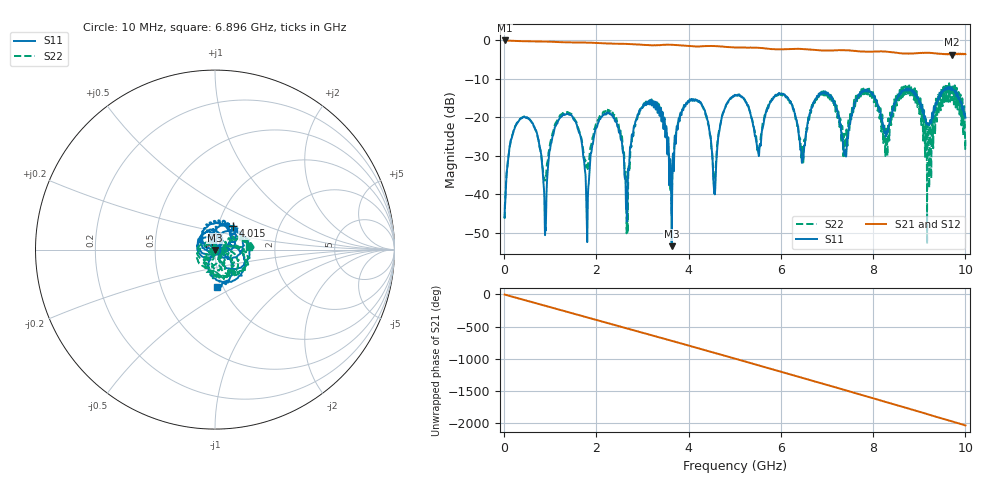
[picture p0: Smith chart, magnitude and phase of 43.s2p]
!Keysight Technologies,E5080B,MY59205177,A.15.75.32
!Date: Friday, February 23, 2024 03:29:38
!Correction: S11(Cdelta 2-Port  )
!S21(Cdelta 2-Port  )
!S12(Cdelta 2-Port  )
!S22(Cdelta 2-Port  )
!S2P File: Measurements: S11, S21, S12, S22:
# Hz S  dB  R 50
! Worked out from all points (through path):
!   10001 points, 10 MHz to 10 GHz, reference 50 ohm
!   highest |S21| = -0.02 dB at 10 MHz (marker M1); lowest = -3.7 dB at 9.701 GHz (marker M2)
!   group delay of S21, straight-line fit = 565 ps
!   lowest |S11| = -53.5 dB at 3.632 GHz (marker M3), VSWR 1.00, Z = 50 - j0.208 ohm
!   |S11| at or under -10 dB: start of sweep to end of sweep
!   |S22| runs from -52.9 to -11.1 dB; largest |S21 - S12| = 0.0015
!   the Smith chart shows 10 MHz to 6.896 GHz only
!   S11 on the Smith chart (normalised r, x): 10 MHz: 1.01, -0.00; 4.015 GHz: 1.18, +0.32; 6.896 GHz: 0.93, -0.41
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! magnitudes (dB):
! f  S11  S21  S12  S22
! 10 MHz  -46.0  0.0  0.0  -46.0
! 373.6 MHz  -20.2  -0.2  -0.2  -20.1
! 888.1 MHz  -50.2  -0.3  -0.3  -36.2
! 1.182 GHz  -20.7  -0.4  -0.4  -20.1
! 1.675 GHz  -26.1  -0.5  -0.5  -25.4
! 1.805 GHz  -49.6  -0.6  -0.6  -33.0
! 2.35 GHz  -19.4  -0.8  -0.8  -18.8
! 2.664 GHz  -47.0  -0.9  -0.9  -42.7
! 2.906 GHz  -19.3  -1.1  -1.1  -18.9
! 3.341 GHz  -17.5  -1.2  -1.2  -17.8
! 3.632 GHz  -53.5  -1.1  -1.1  -44.9
! 4.015 GHz  -15.6  -1.5  -1.5  -15.6
! 4.561 GHz  -39.8  -1.5  -1.5  -38.8
! 5.005 GHz  -14.2  -1.8  -1.8  -14.5
! 5.517 GHz  -29.8  -1.9  -1.9  -28.8
! 6.67 GHz  -17.3  -2.4  -2.4  -16.9
! 6.896 GHz  -13.6  -2.6  -2.6  -14.4
! 7.384 GHz  -29.8  -2.6  -2.6  -25.8
! 7.796 GHz  -13.1  -2.9  -2.9  -12.8
! 8.336 GHz  -22.7  -3.0  -3.0  -20.7
! 9.701 GHz  -12.2  -3.7  -3.7  -13.8
! 10 GHz  -20.1  -3.6  -3.6  -25.9
